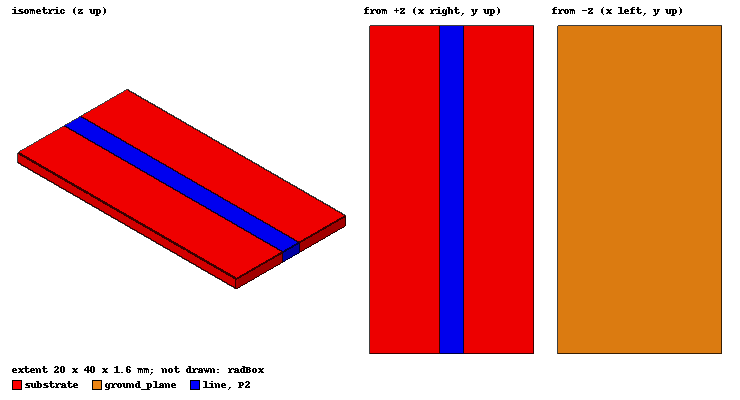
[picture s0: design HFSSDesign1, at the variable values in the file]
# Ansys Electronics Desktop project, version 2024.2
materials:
  vacuum: permittivity=1
  FR4_epoxy: permittivity=4.4 dielectric_loss_tangent=0.02
  air: permittivity=1.0006 permeability=1.0000004

design HFSSDesign1 (HFSS, HFSS Terminal Network, model units mm)
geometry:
  ground_plane = rectangle(corner=(0mm, 0mm, 0mm), x_size=20mm, y_size=40mm)
  substrate [FR4_epoxy] = box(corner=(0mm, 0mm, 0mm), size=(20mm, 40mm, 1.6mm))
  line = rectangle(corner=((10-1.5) mm, 0mm, 1.6mm), x_size=3mm, y_size=40mm)
  P1 = rectangle(corner=(8.5mm, 0mm, 1.6mm), z_size=-1.6mm, x_size=3mm)
  P2 = rectangle(corner=(11.5mm, 40mm, 1.6mm), z_size=-1.6mm, x_size=-3mm)
  radBox [air] = box(corner=(-10mm, -10mm, -20mm), size=(40mm, 60mm, 40mm))
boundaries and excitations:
  PerfE1: Perfect E Objects=[ground_plane, line]
  Rad1: Radiation Objects=radBox
  P1: Lumped Port Objects=P1 LumpedPortType=Modal Modes{Mode1{IntLine{(10, 0, 0) -> (10, 0, 1.6)} CharImp=Zpi}} Impedance=50ohm
  P2: Lumped Port Objects=P2 LumpedPortType=Modal Modes{Mode1{IntLine{(10, 40, 0) -> (10, 40, 1.6)} CharImp=Zpi}} Impedance=50ohm
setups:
  Setup1: HfssDriven Frequency=5GHz MaxDeltaS=0.02 MaximumPasses=6 MinimumPasses=1 MinimumConvergedPasses=1 PercentRefinement=30 BasisOrder=1 PortAccuracy=2 DrivenSolverType="Direct Solver"
    sweep Sweep: 1GHz to 20GHz step 0.1GHz; Type=Fast SaveFields
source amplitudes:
  P1:1: 1V 0deg
  P2:1: 0V 0deg
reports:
  S Parameter Plot 1: dB(S(P1,P1)), dB(S(P2,P1)), dB(S(P1,P2)), dB(S(P2,P2)) vs Freq on Setup1 : Sweep
